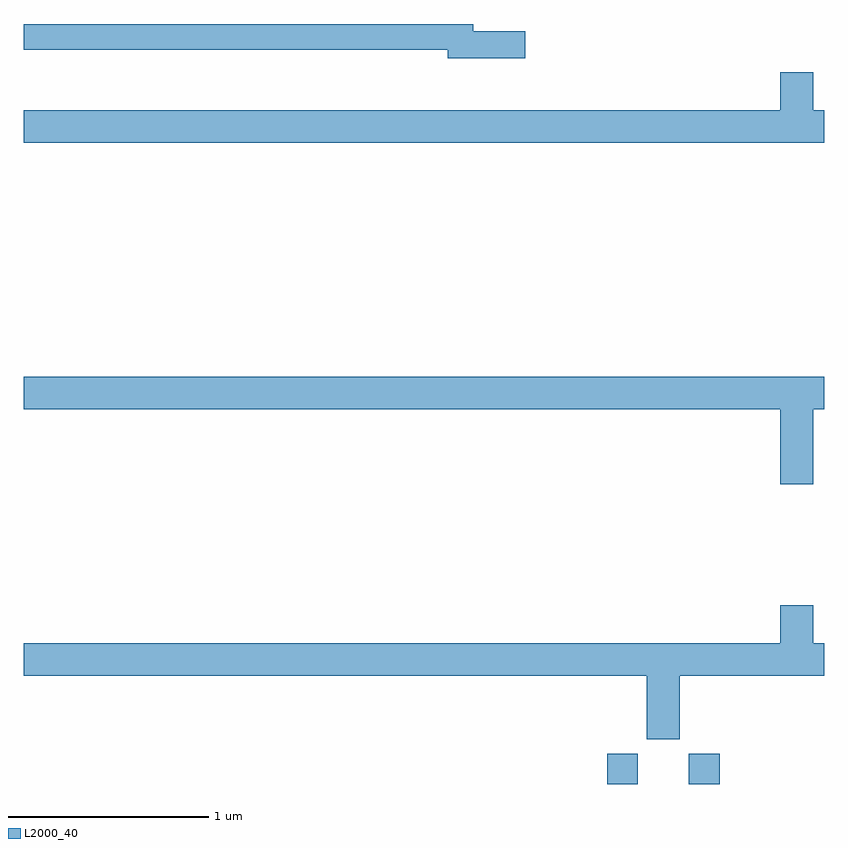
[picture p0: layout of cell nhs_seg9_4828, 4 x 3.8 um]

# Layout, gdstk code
import gdstk
lib = gdstk.Library(unit=1e-6, precision=1e-09)
def R(c, l, rs):  # rectangles x0, y0, x1, y1
    for r in rs: c.add(gdstk.rectangle(r[:2], r[2:], *l))
def P(c, l, *ps):  # polygons
    for p in ps: c.add(gdstk.Polygon(p, *l))
L2000_40 = (2000, 40)

nhs_seg9_4828 = lib.new_cell('nhs_seg9_4828')
R(nhs_seg9_4828, L2000_40, [(391.916,1242.5,392.068,1242.651), (392.324,1242.5,392.477,1242.651)])
P(nhs_seg9_4828, L2000_40, [(391.507,1246.262),(391.246,1246.262),(391.246,1246.298),(389,1246.298),(389,1246.17),(391.118,1246.17),(391.118,1246.127),(391.507,1246.127)],
  [(393,1245.868),(392.944,1245.868),(392.944,1246.057),(392.78,1246.057),(392.78,1245.868),(389,1245.868),(389,1245.704),(393,1245.704)],
  [(392.944,1244.372),(393,1244.372),(393,1244.536),(389,1244.536),(389,1244.372),(392.78,1244.372),(392.78,1243.998),(392.944,1243.998)],
  [(392.278,1243.04),(393,1243.04),(393,1243.204),(392.944,1243.204),(392.944,1243.393),(392.78,1243.393),(392.78,1243.204),(389,1243.204),(389,1243.04),(392.114,1243.04),(392.114,1242.723),(392.278,1242.723)])

lib.write_gds('nhs_seg9_4828.gds')
